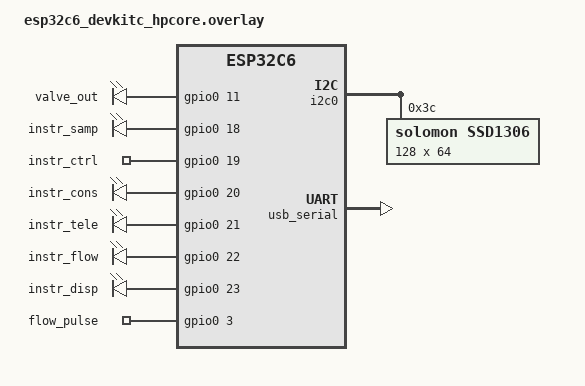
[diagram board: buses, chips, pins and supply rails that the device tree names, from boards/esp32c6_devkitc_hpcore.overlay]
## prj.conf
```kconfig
CONFIG_GPIO=y
CONFIG_ADC=y
CONFIG_SERIAL=y
CONFIG_CONSOLE=y
CONFIG_UART_CONSOLE=y
CONFIG_MAIN_STACK_SIZE=1536
CONFIG_IDLE_STACK_SIZE=256
CONFIG_ISR_STACK_SIZE=512
CONFIG_SYSTEM_WORKQUEUE_STACK_SIZE=512
CONFIG_THREAD_NAME=y
CONFIG_THREAD_ANALYZER=y
CONFIG_THREAD_ANALYZER_USE_PRINTK=y
```

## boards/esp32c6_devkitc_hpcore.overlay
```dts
/*
 * ESP32-C6-DevKitC-1 pin map. Only hardware description changes; the C does not.
 *
 * The six instrumentation pins are consecutive on the J3 header (23 down to 18),
 * so an 8-channel analyzer ribbon clips on in one go. Everything else stays
 * clear of the strapping pins (4/5/8/9/15), the USB-JTAG pair (12/13), the
 * console UART (16/17) and the SPI flash (24-30).
 *
 * Pressure comes from the synthetic plant until the pot is wired: build with
 * -DEXTRA_DTC_OVERLAY_FILE=pot_esp32.overlay to read it from ADC1 instead.
 */

#include <zephyr/dt-bindings/gpio/gpio.h>
#include <zephyr/dt-bindings/i2c/i2c.h>

/ {
	aliases {
		led0 = &valve_out;
	};

	leds {
		compatible = "gpio-leds";
		valve_out: valve_out { gpios = <&gpio0 11 GPIO_ACTIVE_HIGH>; };
	};

	instr {
		compatible = "gpio-leds";
		instr_samp: instr_samp { gpios = <&gpio0 18 GPIO_ACTIVE_HIGH>; };
		instr_ctrl: instr_ctrl { gpios = <&gpio0 19 GPIO_ACTIVE_HIGH>; };
		instr_cons: instr_cons { gpios = <&gpio0 20 GPIO_ACTIVE_HIGH>; };
		instr_tele: instr_tele { gpios = <&gpio0 21 GPIO_ACTIVE_HIGH>; };
		instr_flow: instr_flow { gpios = <&gpio0 22 GPIO_ACTIVE_HIGH>; };
		instr_disp: instr_disp { gpios = <&gpio0 23 GPIO_ACTIVE_HIGH>; };
	};

	keys {
		compatible = "gpio-keys";
		flow_pulse: flow_pulse {
			gpios = <&gpio0 3 (GPIO_ACTIVE_HIGH | GPIO_PULL_DOWN)>;
		};
	};
};

/* Optional SSD1306 HMI (build with -DEXTRA_CONF_FILE=display.conf).
 * i2c0 is already enabled by the board on SDA GPIO6 / SCL GPIO7. */
&i2c0 {
	ssd1306: ssd1306@3c {
		compatible = "solomon,ssd1306";
		reg = <0x3c>;
		width = <128>;
		height = <64>;
		segment-offset = <0>;
		page-offset = <0>;
		display-offset = <0>;
		multiplex-ratio = <63>;
		prechargep = <0x22>;
		segment-remap;
		com-invdir;
	};
};

/* Consola por el único puerto USB de la ESP32-C6 Mini */
&usb_serial {
	status = "okay";
};

/ {
	chosen {
		zephyr,console = &usb_serial;
		zephyr,shell-uart = &usb_serial;
	};
};
```

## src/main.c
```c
/*
 * SoilSense Control — the provided superloop.
 * One main loop + ISRs. No scheduler. You run, read, and measure this in week 2.
 *
 * The node's tasks (PROJECT_SCENARIO.md):
 *   sampling  (hard, 1 kHz)  — pressure ADC, e-stop check, valve PWM phase
 *   control   (hard, 10 ms)  — PI loop -> valve duty
 *   console   (firm)         — UART commands (help/status/joy/set/clear/calib)
 *   telemetry (soft, 1 Hz)   — CSV line over the console UART
 *   flow ISR  (hard)         — pulse counting on the flow input pin
 *
 * Every task raises its instrumentation GPIO on entry and drops it on exit:
 * the logic analyzer sees exactly who ran and for how long.
 */

#include <zephyr/kernel.h>
#include <zephyr/device.h>
#include <zephyr/drivers/gpio.h>
#include <zephyr/drivers/adc.h>
#include <zephyr/drivers/uart.h>
#include <zephyr/sys/atomic.h>
#include <zephyr/sys/util.h>
#include <zephyr/sys/printk.h>
#include <zephyr/debug/thread_analyzer.h>
#ifdef CONFIG_CHARACTER_FRAMEBUFFER
#include <zephyr/drivers/display.h>
#include <zephyr/display/cfb.h>
#endif
#include <stdio.h>
#include <stdlib.h>
#include <string.h>

#define SAMPLE_PERIOD_US 1000  /* sampling: 1 kHz */
#define CONTROL_EVERY    10    /* control runs every 10th sample -> 10 ms */
#define TELEMETRY_MS     1000
#define PWM_STEPS        20    /* software PWM on the valve LED: 1 kHz / 20 = 50 Hz */
#define FLOW_BATCH       100   /* pulses accumulated before the batch math runs */
#define ESTOP_MV         3000  /* overpressure threshold */
#define CALIB_ROUNDS     1000  /* `calib` command: rounds of read + settle */
#define DISPLAY_MS       500   /* HMI refresh period */
#define ESTOP_HOLD       50    /* joystick-down samples (at 50 Hz) = 1 s hold */

/* ---- Hardware (all optional: missing DT nodes degrade to a synthetic rig) -- */

#define INSTR(node) GPIO_DT_SPEC_GET_OR(DT_NODELABEL(node), gpios, {0})
static const struct gpio_dt_spec instr_samp = INSTR(instr_samp);
static const struct gpio_dt_spec instr_ctrl = INSTR(instr_ctrl);
static const struct gpio_dt_spec instr_cons = INSTR(instr_cons);
static const struct gpio_dt_spec instr_tele = INSTR(instr_tele);
static const struct gpio_dt_spec instr_flow = INSTR(instr_flow);
static const struct gpio_dt_spec instr_disp = INSTR(instr_disp);
static const struct gpio_dt_spec valve_led =
	GPIO_DT_SPEC_GET_OR(DT_ALIAS(led0), gpios, {0});
static const struct gpio_dt_spec flow_pulse =
	GPIO_DT_SPEC_GET_OR(DT_NODELABEL(flow_pulse), gpios, {0});

#if DT_NODE_EXISTS(DT_PATH(zephyr_user)) && \
	DT_NODE_HAS_PROP(DT_PATH(zephyr_user), io_channels)
#define HAS_ADC 1
static const struct adc_dt_spec adc_joy =
	ADC_DT_SPEC_GET_BY_IDX(DT_PATH(zephyr_user), 0);
static const struct adc_dt_spec adc_pressure =
	ADC_DT_SPEC_GET_BY_IDX(DT_PATH(zephyr_user), 1);
#endif

#if DT_HAS_CHOSEN(zephyr_console)
static const struct device *const console_uart =
	DEVICE_DT_GET(DT_CHOSEN(zephyr_console));
#endif

#ifdef CONFIG_CHARACTER_FRAMEBUFFER
static const struct device *const disp = DEVICE_DT_GET_ANY(solomon_ssd1306);
#endif

static inline void instr_set(const struct gpio_dt_spec *p, int v)
{

/* TASK 1 — */
if (p->port) {
    gpio_pin_set_dt(p, v);
}
}

/* ---- ISR side ------------------------------------------------------------- */

/* Sampling tick: the ISR only raises a flag; the loop discovers it whenever it
 * next comes around. If the loop was busy, ticks pile up here. */
K_MSGQ_DEFINE(tick_q, sizeof(uint32_t), 8, 4);

static atomic_t backlog_peak;
static atomic_t lat_peak_us;
static atomic_t sample_jitter_peak_us;
static atomic_t control_period_peak_us;
static atomic_t ctx_gap_peak_us;
static atomic_t control_release_cycle;
static atomic_t actuator_jitter_max_ms;
static atomic_t control_error_peak_mv;
static atomic_t control_error_sum_mv;
static atomic_t control_error_samples;
static uint32_t jitter_rng = 0x6d2b79f5U;
static atomic_t estop_detect_cycle;
static atomic_t estop_to_valve_peak_us;
static atomic_t estop_trials;
static atomic_t calib_duration_us;
static atomic_t calib_cpu_us;

static void update_peak(atomic_t *peak, atomic_val_t value)
{
	if (value > atomic_get(peak)) {
		atomic_set(peak, value);
	}
}

static uint32_t jitter_delay_ms(uint32_t max_ms)
{
	if (max_ms == 0U) {
		return 0U;
	}

	jitter_rng ^= jitter_rng << 13;
	jitter_rng ^= jitter_rng >> 17;
	jitter_rng ^= jitter_rng << 5;

	return jitter_rng % (max_ms + 1U);
}

static void reset_jitter_metrics(void)
{
	atomic_set(&control_error_peak_mv, 0);
	atomic_set(&control_error_sum_mv, 0);
	atomic_set(&control_error_samples, 0);
}

static void print_jitter_report(void)
{
	atomic_val_t samples = atomic_get(&control_error_samples);
	atomic_val_t sum = atomic_get(&control_error_sum_mv);
	atomic_val_t mean = samples > 0 ? sum / samples : 0;

	printk("jitter_max_ms=%ld error_peak_mv=%ld "
	       "error_mean_mv=%ld samples=%ld\n",
	       (long)atomic_get(&actuator_jitter_max_ms),
	       (long)atomic_get(&control_error_peak_mv),
	       (long)mean,
	       (long)samples);
}

K_SEM_DEFINE(control_sem, 0, 1);

static void tick_isr(struct k_timer *t)
{
	uint32_t released = k_cycle_get_32();

	k_msgq_put(&tick_q, &released, K_NO_WAIT);

	atomic_val_t backlog = k_msgq_num_used_get(&tick_q);

	if (backlog > atomic_get(&backlog_peak)) {
		atomic_set(&backlog_peak, backlog);
	}
}

K_TIMER_DEFINE(tick_timer, tick_isr, NULL);

/* Flow pulses: counted in the ISR, processed in the loop in batches. */
static atomic_t flow_pulses;
static struct gpio_callback flow_cb;

K_THREAD_STACK_DEFINE(flow_wq_stack, 1024);

static struct k_work_q flow_wq;
static struct k_work flow_work;

static void flow_work_fn(struct k_work *work);

static void flow_isr(const struct device *dev, struct gpio_callback *cb,
		     uint32_t pins)
{
	if (atomic_inc(&flow_pulses) + 1 >= FLOW_BATCH) {
		k_work_submit_to_queue(&flow_wq, &flow_work);
	}
}

/* ---- State ---------------------------------------------------------------- */

static int setpoint_mv = 1500;
static int pressure_mv;
static int joystick_mv = -1;
static int duty_pct;          /* valve command, 0-100 */
static int integral_mv;
static bool estop;
static float flow_lpm;        /* batch math result (float on purpose: no FPU) */
static uint32_t flow_batches;

enum page { PAGE_DASH, PAGE_FLOW, PAGE_HEALTH, PAGE_COUNT };
static int page;
static bool page_dirty = true;

/* ---- Inputs: ADC when the board wires it, a synthetic plant when not ------ */

#if HAS_ADC
static int adc_read_mv(const struct adc_dt_spec *spec)
{
	int16_t raw;
	struct adc_sequence seq = { .buffer = &raw, .buffer_size = sizeof(raw) };
	int32_t mv;

	adc_sequence_init_dt(spec, &seq);
	if (adc_read_dt(spec, &seq) < 0) {
		return -1;
	}
	mv = raw;
	adc_raw_to_millivolts_dt(spec, &mv);
	return mv;
}
#endif

/* Without a pot on the pressure channel (or on native_sim) the plant is
 * simulated: pressure drifts toward what the valve commands. */
static int plant_mv(void)
{
	static int mv = 1200;

	mv += (duty_pct * 33 - mv) / 64;
	mv += (int)(k_cycle_get_32() % 7) - 3;
	return mv;
}

static int read_pressure_mv(void)
{
#if HAS_ADC
	int mv = adc_read_mv(&adc_pressure);

	if (mv >= 0) {
		return mv;
	}
#endif
	return plant_mv();
}

static int read_joystick_mv(void)
{
#if HAS_ADC
	return adc_read_mv(&adc_joy);
#else
	return -1;
#endif
}

/* ---- Tasks ---------------------------------------------------------------- */

/* Joystick bands, single-ADC resistor ladder. Calibrate with `joy`. */
enum joy { JOY_NONE, JOY_UP, JOY_DOWN, JOY_LEFT, JOY_RIGHT, JOY_SEL };

static enum joy joy_decode(int mv)
{
	if (mv < 0) return JOY_NONE;
	if (mv < 300) return JOY_SEL;
	if (mv < 900) return JOY_DOWN;
	if (mv < 1600) return JOY_RIGHT;
	if (mv < 2300) return JOY_LEFT;
	if (mv < 3000) return JOY_UP;
	return JOY_NONE;
}

/* Joystick UX, sampled at 50 Hz: left/right turn HMI pages, up/down move the
 * setpoint on the dashboard, down *held* ~1 s is the e-stop, center clears it. */
static void joystick_update(void)
{
	static enum joy prev = JOY_NONE;
	static int down_held;

	joystick_mv = read_joystick_mv();
	enum joy j = joy_decode(joystick_mv);

	if (j == JOY_DOWN) {
		if (++down_held == ESTOP_HOLD) {
			estop = true;
			page_dirty = true;
		}
	} else {
		down_held = 0;
	}

	switch (j) {
	case JOY_UP: /* held = ramp */
		if (page == PAGE_DASH) {
			setpoint_mv = CLAMP(setpoint_mv + 10, 0, 3300);
			page_dirty = true;
		}
		break;
	case JOY_DOWN: /* single step per press; keep holding for e-stop */
		if (page == PAGE_DASH && j != prev) {
			setpoint_mv = CLAMP(setpoint_mv - 10, 0, 3300);
			page_dirty = true;
		}
		break;
	case JOY_LEFT:
		if (j != prev) {
			page = (page + PAGE_COUNT - 1) % PAGE_COUNT;
			page_dirty = true;
		}
		break;
	case JOY_RIGHT:
		if (j != prev) {
			page = (page + 1) % PAGE_COUNT;
			page_dirty = true;
		}
		break;
	case JOY_SEL:
		estop = false;
		integral_mv = 0;
		page_dirty = true;
		break;
	default:
		break;
	}
	prev = j;
}

static void task_sampling(void)
{
	static int pwm_phase;
	static int joy_div;

	instr_set(&instr_samp, 1);

	pressure_mv = read_pressure_mv();

	/*
	 * Medición “antes”: guarda el instante de detección.
	 * Aún NO cambia duty_pct aquí; eso se hará después de medir el caso original.
	 */
	if (pressure_mv > ESTOP_MV && !estop) {
	estop = true;
	duty_pct = 0; /* La válvula se cierra en este mismo muestreo. */
	atomic_set(&estop_detect_cycle,
		   (atomic_val_t)k_cycle_get_32());
}

	/* joystick, decimated to 50 Hz */
	if (++joy_div >= 20) {
		joy_div = 0;
		joystick_update();
	}

	/* software PWM on the valve */
	pwm_phase = (pwm_phase + 1) % PWM_STEPS;
	if (valve_led.port) {
		bool valve_high =
			pwm_phase < (duty_pct * PWM_STEPS) / 100;

		gpio_pin_set_dt(&valve_led, valve_high);

		/*
		 * Cuando la válvula llega a bajo por primera vez después
		 * de detectar el e-stop, registra detección → válvula baja.
		 */
		if (estop && duty_pct == 0 && !valve_high) {
			atomic_val_t detected =
				atomic_get(&estop_detect_cycle);

			if (detected != 0) {
				uint32_t delay_us =
					k_cyc_to_us_floor32(
						k_cycle_get_32() -
						(uint32_t)detected);

				if (atomic_cas(&estop_detect_cycle,
					       detected, 0)) {
					update_peak(&estop_to_valve_peak_us,
						    (atomic_val_t)delay_us);
					atomic_inc(&estop_trials);
				}
			}
		}
	}

	instr_set(&instr_samp, 0);
}

static void task_control(void)
{
	instr_set(&instr_ctrl, 1);

	if (estop) {
		/* La parada de emergencia no recibe retraso artificial. */
		duty_pct = 0;
	} else {
		int error = setpoint_mv - pressure_mv;
		int abs_error = error < 0 ? -error : error;
		int next_duty;
		uint32_t max_delay_ms;

		update_peak(&control_error_peak_mv, abs_error);
		atomic_add(&control_error_sum_mv, abs_error);
		atomic_inc(&control_error_samples);

		integral_mv += error / 8;
		integral_mv = CLAMP(integral_mv, -2000, 2000);
		next_duty = CLAMP((error + integral_mv) / 20, 0, 100);

		/* Lab 6, tarea C: retraso aleatorio antes de aplicar la válvula. */
		max_delay_ms = (uint32_t)atomic_get(&actuator_jitter_max_ms);
		k_msleep(jitter_delay_ms(max_delay_ms));

		duty_pct = next_duty;
	}

	instr_set(&instr_ctrl, 0);
}

/* Every FLOW_BATCH pulses: convert the accumulated count to L/min and smooth
 * it. Float math, in the middle of the loop, on a core without an FPU. */
static void task_flow_batch(void)
{
	if (atomic_get(&flow_pulses) < FLOW_BATCH) {
		return;
	}
	instr_set(&instr_flow, 1);

	float pulses = (float)atomic_clear(&flow_pulses);
	float lpm = pulses / 5880.0f * 60.0f; /* YF-S401: 5880 pulses/L */

	for (int i = 0; i < 50; i++) {
		flow_lpm = flow_lpm * 0.9f + lpm * 0.1f;
	}
	flow_batches++;

	instr_set(&instr_flow, 0);
}

static void flow_work_fn(struct k_work *work)
{
	ARG_UNUSED(work);
	task_flow_batch();
}

static void task_telemetry(void)
{
	static int64_t next_ms;
	char line[96];

	if (k_uptime_get() < next_ms) {
		return;
	}
	next_ms += TELEMETRY_MS;
	instr_set(&instr_tele, 1);

	snprintf(line, sizeof(line),
		 "t=%u p_mv=%d sp_mv=%d duty=%d flow_x100=%d estop=%d backlog=%ld",
		 (unsigned int)k_uptime_get(), pressure_mv, setpoint_mv, duty_pct,
		 (int)(flow_lpm * 100.0f), (int)estop,
		 (long)atomic_get(&backlog_peak));
	printk("%s\n", line); /* polled UART: ~7 ms of blocking at 115200 */

	instr_set(&instr_tele, 0);
}

#define TELEMETRY_PRIO  8
#define TELEMETRY_STACK 2048

static void telemetry_thread(void *p1, void *p2, void *p3)
{
	int64_t next = k_uptime_get() + TELEMETRY_MS;

	while (1) {
		k_sleep(K_TIMEOUT_ABS_MS(next));
		task_telemetry();
		next += TELEMETRY_MS;
	}
}

K_THREAD_DEFINE(telemetry_tid, TELEMETRY_STACK, telemetry_thread,
		NULL, NULL, NULL, TELEMETRY_PRIO, 0, 0);

/* ---- Display (soft "HMI"): SSD1306 pages, redrawn whole ------------------- */

#ifdef CONFIG_CHARACTER_FRAMEBUFFER
static void task_display(void)
{
	static int64_t next_ms;
	static bool ready;
	char line[24];

	if (disp == NULL) {
		return;
	}
	if (!ready) {
		if (!device_is_ready(disp) || cfb_framebuffer_init(disp) != 0) {
			return;
		}
		display_blanking_off(disp);
		ready = true;
	}
	if (!page_dirty && k_uptime_get() < next_ms) {
		return;
	}
	next_ms = k_uptime_get() + DISPLAY_MS;
	page_dirty = false;

	instr_set(&instr_disp, 1);
	cfb_framebuffer_clear(disp, false);
	switch (page) {
	case PAGE_DASH:
		snprintf(line, sizeof(line), "P %4d>%4dmV", pressure_mv,
			 setpoint_mv);
		cfb_print(disp, line, 0, 0);
		snprintf(line, sizeof(line), "duty %3d%% %s", duty_pct,
			 estop ? "ESTOP" : "");
		cfb_print(disp, line, 0, 16);
		cfb_print(disp, "1/3 dash", 0, 48);
		break;
	case PAGE_FLOW:
		snprintf(line, sizeof(line), "flow %d.%02d L/m",
			 (int)flow_lpm, (int)(flow_lpm * 100.0f) % 100);
		cfb_print(disp, line, 0, 0);
		snprintf(line, sizeof(line), "batches %u", flow_batches);
		cfb_print(disp, line, 0, 16);
		cfb_print(disp, "2/3 flow", 0, 48);
		break;
	case PAGE_HEALTH:
		snprintf(line, sizeof(line), "up %us",
			 (unsigned int)(k_uptime_get() / 1000));
		cfb_print(disp, line, 0, 0);
		snprintf(line, sizeof(line), "backlog pk %ld",
			 (long)atomic_get(&backlog_peak));
		cfb_print(disp, line, 0, 16);
		cfb_print(disp, "3/3 health", 0, 48);
		break;
	}
	/* the whole 1 KB frame goes over I2C here, char by char: blocking */
	cfb_framebuffer_finalize(disp);
	instr_set(&instr_disp, 0);
}
#else
static void task_display(void)
{
}
#endif

#define DISPLAY_PRIO  7
#define DISPLAY_STACK 2048

static void display_thread(void *p1, void *p2, void *p3)
{
	while (1) {
		task_display();
		k_msleep(50);
	}
}

K_THREAD_DEFINE(display_tid, DISPLAY_STACK, display_thread,
		NULL, NULL, NULL, DISPLAY_PRIO, 0, 0);

/* ---- Console (firm): poll chars, run a full command synchronously --------- */

static void cmd_calib(void)
{
	uint32_t start_cycle = k_cycle_get_32();
	uint32_t cpu_us = 0;

	printk("calibrating...\n");

	for (int i = 0; i < CALIB_ROUNDS; i++) {
		uint32_t work_start = k_cycle_get_32();

		(void)read_pressure_mv();

		cpu_us += k_cyc_to_us_floor32(
			k_cycle_get_32() - work_start);

		/*
		 * Corrección Lab 6: el hilo de consola espera sin ocupar CPU.
		 */
		k_usleep(400);
	}

	uint32_t duration_us =
		k_cyc_to_us_floor32(k_cycle_get_32() - start_cycle);

	atomic_set(&calib_duration_us, (atomic_val_t)duration_us);
	atomic_set(&calib_cpu_us, (atomic_val_t)cpu_us);

	printk("calibration complete duration_us=%u cpu_us=%u\n",
	       duration_us, cpu_us);
}

static void console_handle(char *line)
{
	if (strcmp(line, "help") == 0) {
		printk("commands: help status joy set <mv> clear calib threads "
		       "timing reset jitter <0|2|5> jitter report "
		       "estop reset estop report\n");

	} else if (strcmp(line, "status") == 0) {
		printk("p=%d mV sp=%d mV duty=%d%% flow_x100=%d estop=%d "
		       "batches=%u backlog_peak=%ld lat_peak_us=%ld "
		       "samp_jitter_peak_us=%ld ctrl_period_peak_us=%ld "
		       "ctx_gap_peak_us=%ld\n",
		       pressure_mv, setpoint_mv, duty_pct,
		       (int)(flow_lpm * 100.0f), (int)estop, flow_batches,
		       (long)atomic_get(&backlog_peak),
		       (long)atomic_get(&lat_peak_us),
		       (long)atomic_get(&sample_jitter_peak_us),
		       (long)atomic_get(&control_period_peak_us),
		       (long)atomic_get(&ctx_gap_peak_us));

	} else if (strcmp(line, "joy") == 0) {
		printk("joystick raw: %d mV\n", joystick_mv);

	} else if (strncmp(line, "set ", 4) == 0) {
		setpoint_mv = CLAMP(atoi(line + 4), 0, 3300);
		printk("setpoint = %d mV\n", setpoint_mv);

	} else if (strcmp(line, "clear") == 0) {
		estop = false;
		integral_mv = 0;
		atomic_set(&estop_detect_cycle, 0);
		printk("e-stop cleared\n");

	} else if (strcmp(line, "calib") == 0) {
		cmd_calib();

	} else if (strcmp(line, "jitter report") == 0) {
		print_jitter_report();

	} else if (strncmp(line, "jitter ", 7) == 0) {
		int max_ms = atoi(line + 7);

		if (max_ms != 0 && max_ms != 2 && max_ms != 5) {
			printk("use: jitter 0, jitter 2, or jitter 5\n");
		} else {
			atomic_set(&actuator_jitter_max_ms, max_ms);
			reset_jitter_metrics();
			printk("actuator jitter set to 0..%d ms; metrics reset\n",
			       max_ms);
		}

	} else if (strcmp(line, "estop report") == 0) {
		printk("estop_trials=%ld estop_to_valve_peak_us=%ld\n",
		       (long)atomic_get(&estop_trials),
		       (long)atomic_get(&estop_to_valve_peak_us));

	} else if (strcmp(line, "estop reset") == 0) {
		atomic_set(&estop_detect_cycle, 0);
		atomic_set(&estop_to_valve_peak_us, 0);
		atomic_set(&estop_trials, 0);
		printk("e-stop statistics reset\n");

	} else if (strcmp(line, "threads") == 0) {
		thread_analyzer_print(0);

	} else if (strcmp(line, "timing reset") == 0) {
		atomic_set(&backlog_peak, 0);
		atomic_set(&lat_peak_us, 0);
		atomic_set(&sample_jitter_peak_us, 0);
		atomic_set(&control_period_peak_us, 0);
		atomic_set(&ctx_gap_peak_us, 0);
		atomic_set(&control_release_cycle, 0);
		atomic_set(&estop_detect_cycle, 0);
		atomic_set(&estop_to_valve_peak_us, 0);
		atomic_set(&estop_trials, 0);
		reset_jitter_metrics();
		printk("timing statistics reset\n");

	} else if (line[0] != '\0') {
		printk("? (try: help)\n");
	}
}

static void task_console(void)
{
	static char buf[32];
	static size_t len;
	unsigned char c;

#if DT_HAS_CHOSEN(zephyr_console)
	while (uart_poll_in(console_uart, &c) == 0) {
		instr_set(&instr_cons, 1);
		if (c == '\r' || c == '\n') {
			buf[len] = '\0';
			printk("\n");
			console_handle(buf);
			len = 0;
		} else if (len < sizeof(buf) - 1) {
			buf[len++] = c;
			printk("%c", c);
		}
		instr_set(&instr_cons, 0);
	}
#endif
}

#define CONSOLE_PRIO  9
#define CONSOLE_STACK 2048

static void console_thread(void *p1, void *p2, void *p3)
{
	while (1) {
		task_console();
		k_msleep(5);
	}
}

K_THREAD_DEFINE(console_tid, CONSOLE_STACK, console_thread,
		NULL, NULL, NULL, CONSOLE_PRIO, 0, 0);

/* ---- Bring-up + the loop -------------------------------------------------- */

static void init_hw(void)
{
	const struct gpio_dt_spec *outs[] = { &instr_samp, &instr_ctrl,
					      &instr_cons, &instr_tele,
					      &instr_flow, &instr_disp,
					      &valve_led };

	for (size_t i = 0; i < ARRAY_SIZE(outs); i++) {
		if (outs[i]->port) {
			gpio_pin_configure_dt(outs[i], GPIO_OUTPUT_INACTIVE);
		}
	}
#if HAS_ADC
	adc_channel_setup_dt(&adc_joy);
	adc_channel_setup_dt(&adc_pressure);
#endif
	if (flow_pulse.port) {
		gpio_pin_configure_dt(&flow_pulse, GPIO_INPUT);
		gpio_pin_interrupt_configure_dt(&flow_pulse,
						GPIO_INT_EDGE_TO_ACTIVE);
		gpio_init_callback(&flow_cb, flow_isr, BIT(flow_pulse.pin));
		gpio_add_callback(flow_pulse.port, &flow_cb);
	}
}

#define SAMPLING_PRIO  2
#define SAMPLING_STACK 1536

static void sampling_thread(void *p1, void *p2, void *p3)
{
	uint32_t released;
	uint32_t last_start = 0;
	int control_div = 0;

	while (1) {
		k_msgq_get(&tick_q, &released, K_FOREVER);

		atomic_val_t lat =
			k_cyc_to_us_floor32(k_cycle_get_32() - released);

		update_peak(&lat_peak_us, lat);

		uint32_t now = k_cycle_get_32();

		if (last_start != 0U) {
			uint32_t period_us =
				k_cyc_to_us_floor32(now - last_start);
			uint32_t jitter_us = period_us > SAMPLE_PERIOD_US ?
				period_us - SAMPLE_PERIOD_US :
				SAMPLE_PERIOD_US - period_us;

			update_peak(&sample_jitter_peak_us,
				    (atomic_val_t)jitter_us);
		}

		last_start = now;
		task_sampling();

		if (++control_div >= CONTROL_EVERY) {
			control_div = 0;

			atomic_set(&control_release_cycle,
		  		(atomic_val_t)k_cycle_get_32());
			k_sem_give(&control_sem);
		}
	}
}

K_THREAD_DEFINE(sampling_tid, SAMPLING_STACK, sampling_thread,
		NULL, NULL, NULL, SAMPLING_PRIO, 0, 0);

#define CONTROL_PRIO  3
#define CONTROL_STACK 1024

static void control_thread(void *p1, void *p2, void *p3)
{
	uint32_t last_start = 0;

	while (1) {
		k_sem_take(&control_sem, K_FOREVER);

		uint32_t now = k_cycle_get_32();
		uint32_t released =
			(uint32_t)atomic_get(&control_release_cycle);

		if (released != 0U) {
			uint32_t ctx_gap_us =
				k_cyc_to_us_floor32(now - released);

			update_peak(&ctx_gap_peak_us,
				    (atomic_val_t)ctx_gap_us);
		}

		if (last_start != 0U) {
			uint32_t period_us =
				k_cyc_to_us_floor32(now - last_start);

			update_peak(&control_period_peak_us,
				    (atomic_val_t)period_us);
		}

		last_start = now;
		task_control();
	}
}

K_THREAD_DEFINE(control_tid, CONTROL_STACK, control_thread,
		NULL, NULL, NULL, CONTROL_PRIO, 0, 0);

int main(void)
{
	const struct k_work_queue_config cfg = {
		.name = "flow_wq",
	};

	k_work_queue_start(&flow_wq, flow_wq_stack,
			   K_THREAD_STACK_SIZEOF(flow_wq_stack),
			   5, &cfg);
	k_work_init(&flow_work, flow_work_fn);

	init_hw();
	printk("SoilSense Control — kernel build (%s)\n", CONFIG_BOARD);
	printk("type 'help'\n");

	k_timer_start(&tick_timer, K_USEC(SAMPLE_PERIOD_US),
		      K_USEC(SAMPLE_PERIOD_US));

	return 0;
}
```
